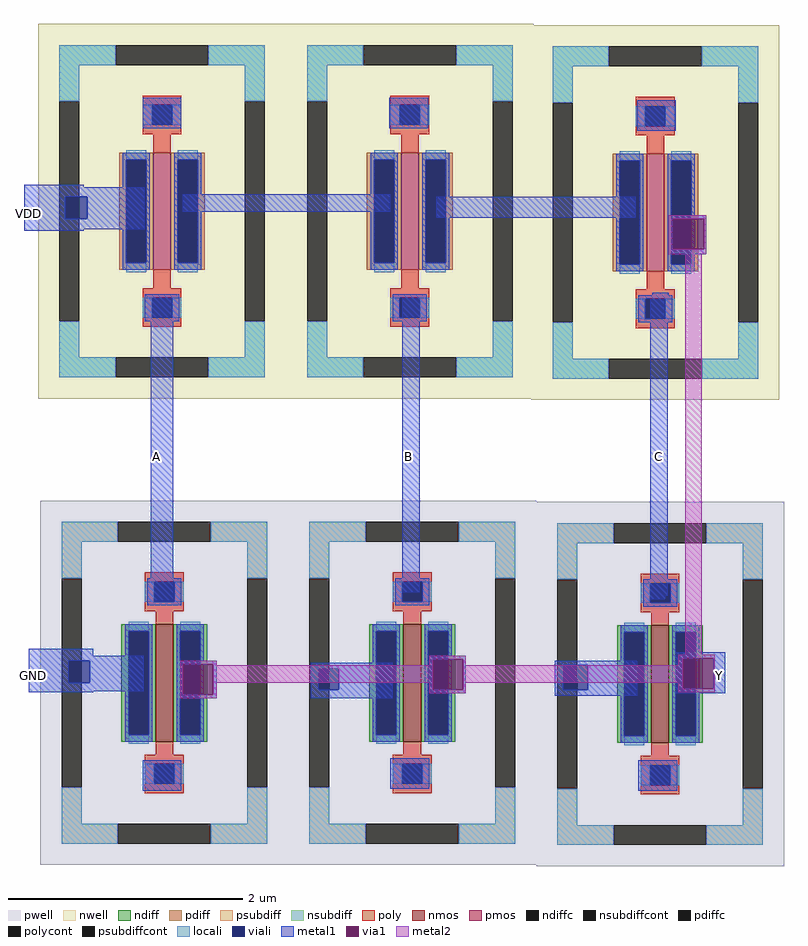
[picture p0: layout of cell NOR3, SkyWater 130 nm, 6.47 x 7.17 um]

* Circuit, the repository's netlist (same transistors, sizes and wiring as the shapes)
* SPICE3 file created from NOR3.ext - technology: sky130A

X0 XM7/D A VDD VDD sky130_fd_pr__pfet_01v8 ad=0.29 pd=2.58 as=0.29 ps=2.58 w=1 l=0.15
X1 Y A GND GND sky130_fd_pr__nfet_01v8 ad=0.29 pd=2.58 as=0.29 ps=2.58 w=1 l=0.15
X2 XM9/D B XM7/D VDD sky130_fd_pr__pfet_01v8 ad=0.58 pd=5.16 as=0.58 ps=5.16 w=1 l=0.15
X3 Y B GND GND sky130_fd_pr__nfet_01v8 ad=0.87 pd=7.74 as=0.87 ps=7.74 w=1 l=0.15
X4 Y C XM9/D VDD sky130_fd_pr__pfet_01v8 ad=0.29 pd=2.58 as=0 ps=0 w=1 l=0.15
X5 Y C GND GND sky130_fd_pr__nfet_01v8 ad=0 pd=0 as=0 ps=0 w=1 l=0.15
*C0 VDD GND 3.366326f

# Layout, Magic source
magic
tech sky130A
magscale 1 2
<< viali >>
rect -134 1120 -96 1158
rect -128 330 -92 368
rect 298 318 332 354
rect 714 318 756 360
<< metal1 >>
rect -2 1274 64 1326
rect 418 1274 484 1326
rect 840 1270 906 1322
rect -204 1174 -102 1178
rect -204 1158 2 1174
rect -204 1120 -134 1158
rect -96 1120 2 1158
rect 66 1132 420 1162
rect 498 1122 838 1158
rect -204 1102 2 1120
rect 894 1120 958 1126
rect -204 1100 -102 1102
rect 894 1068 900 1120
rect 954 1068 958 1120
rect 894 1060 958 1068
rect 866 990 894 994
rect 866 988 892 990
rect 12 470 50 986
rect 440 484 470 986
rect 862 478 892 988
rect 862 472 888 478
rect -196 376 -86 388
rect -196 368 0 376
rect 486 370 548 376
rect -196 330 -128 368
rect -92 330 0 368
rect -196 316 0 330
rect 62 362 124 368
rect -196 314 -86 316
rect 62 310 66 362
rect 118 310 124 362
rect 62 304 124 310
rect 284 354 424 364
rect 284 318 298 354
rect 332 318 424 354
rect 284 304 424 318
rect 486 318 492 370
rect 544 318 548 370
rect 906 372 990 382
rect 486 312 548 318
rect 700 360 840 368
rect 700 318 714 360
rect 756 318 840 360
rect 700 308 840 318
rect 906 320 918 372
rect 970 320 990 372
rect 906 312 990 320
rect -2 146 64 198
rect 420 150 486 202
rect 842 146 908 198
<< via1 >>
rect 900 1068 954 1120
rect 66 310 118 362
rect 492 318 544 370
rect 918 320 970 372
<< metal2 >>
rect 894 1120 958 1126
rect 894 1068 900 1120
rect 954 1068 958 1120
rect 894 1060 958 1068
rect 922 378 950 1060
rect 486 370 548 376
rect 62 362 124 368
rect 62 310 66 362
rect 118 360 124 362
rect 486 360 492 370
rect 118 330 492 360
rect 118 310 124 330
rect 486 318 492 330
rect 544 360 548 370
rect 910 372 972 378
rect 910 360 918 372
rect 544 330 918 360
rect 544 318 548 330
rect 486 312 548 318
rect 910 320 918 330
rect 970 320 972 372
rect 910 314 972 320
rect 62 304 124 310
use sky130_fd_pr__pfet_01v8_KBS6X7  XM5
transform 1 0 31 0 1 1133
box -211 -319 211 319
use sky130_fd_pr__nfet_01v8_SFU2NW  XM6
transform 1 0 35 0 1 330
box -211 -310 211 310
use sky130_fd_pr__pfet_01v8_KBS6X7  XM7
transform 1 0 453 0 1 1133
box -211 -319 211 319
use sky130_fd_pr__nfet_01v8_SFU2NW  XM8
transform 1 0 457 0 1 330
box -211 -310 211 310
use sky130_fd_pr__pfet_01v8_KBS6X7  XM9
transform 1 0 871 0 1 1131
box -211 -319 211 319
use sky130_fd_pr__nfet_01v8_SFU2NW  XM10
transform 1 0 879 0 1 328
box -211 -310 211 310
<< labels >>
rlabel metal1 -196 1130 -196 1130 1 VDD
rlabel metal1 -188 342 -188 342 1 GND
rlabel metal1 22 716 22 716 1 A
rlabel metal1 450 716 450 716 1 B
rlabel metal1 876 716 876 716 1 C
rlabel metal1 980 342 980 342 1 Y
<< end >>

# cell sky130_fd_pr__pfet_01v8_KBS6X7: kit device sky130_fd_pr__pfet_01v8, w 1.0 l 0.15 m 1 nf 1 diffcov 100 polycov 100 guard 1 glc 1 grc 1 gtc 1 gbc 1 tbcov 100 rlcov 100 topc 1 botc 1 poverlap 0 doverlap 1 lmin 0.15 wmin 0.42 class mosfet compatible {sky130_fd_pr__pfet_01v8 sky130_fd_pr__pfet_01v8_lvt sky130_fd_pr__pfet_01v8_hvt sky130_fd_pr__pfet_g5v0d10v5} full_metal 1 viasrc 100 viadrn 100 viagate 100 viagb 0 viagr 0 viagl 0 viagt 0 doports 1 ad {int((nf+1)/2) * W/nf * 0.29} as {int((nf+2)/2) * W/nf * 0.29} pd {2*int((nf+1)/2) * (W/nf + 0.29)} ps {2*int((nf+2)/2) * (W/nf + 0.29)} nrd {0.29 / W} nrs {0.29 / W} sa 0 sb 0 sd 0 mult 1

# cell sky130_fd_pr__nfet_01v8_SFU2NW: kit device sky130_fd_pr__nfet_01v8, w 1.0 l 0.15 m 1 nf 1 diffcov 100 polycov 100 guard 1 glc 1 grc 1 gtc 1 gbc 1 tbcov 100 rlcov 100 topc 1 botc 1 poverlap 0 doverlap 1 lmin 0.15 wmin 0.42 class mosfet compatible {sky130_fd_pr__nfet_01v8 sky130_fd_pr__nfet_01v8_lvt sky130_fd_bs_flash__special_sonosfet_star sky130_fd_pr__nfet_g5v0d10v5 sky130_fd_pr__nfet_05v0_nvt sky130_fd_pr__nfet_03v3_nvt} full_metal 1 viasrc 100 viadrn 100 viagate 100 viagb 0 viagr 0 viagl 0 viagt 0 doports 1 ad {int((nf+1)/2) * W/nf * 0.29} as {int((nf+2)/2) * W/nf * 0.29} pd {2*int((nf+1)/2) * (W/nf + 0.29)} ps {2*int((nf+2)/2) * (W/nf + 0.29)} nrd {0.29 / W} nrs {0.29 / W} sa 0 sb 0 sd 0 mult 1
